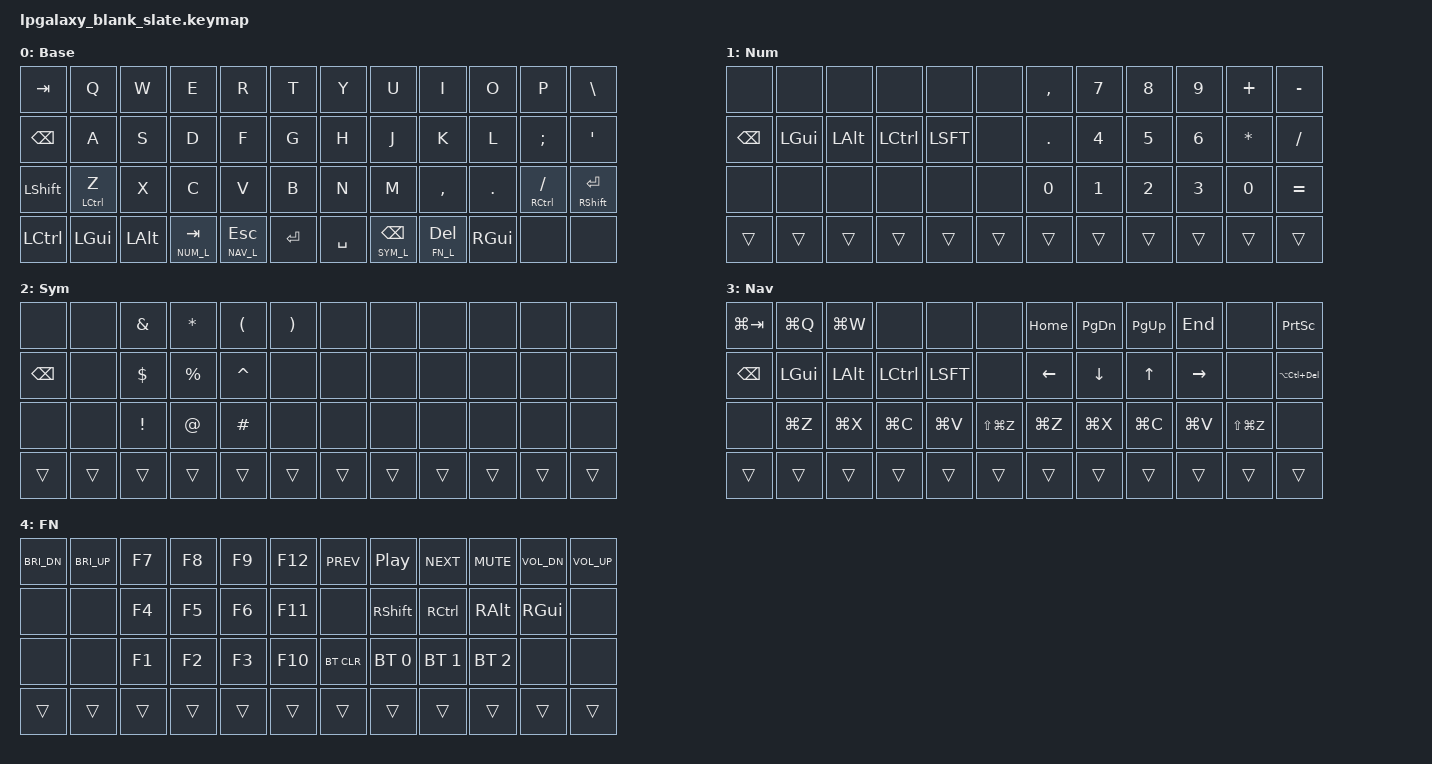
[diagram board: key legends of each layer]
/*
 * Copyright (c) 2022 Pete Johanson
 *
 * SPDX-License-Identifier: MIT
 */

#include <behaviors.dtsi>
#include <dt-bindings/zmk/keys.h>
#include <dt-bindings/zmk/bt.h>
#include <dt-bindings/zmk/outputs.h>

#define QWE_L 0
#define NUM_L 1
#define SYM_L 2
#define NAV_L 3
#define FN_L  4

#define A_C_D LA(LC(DEL))
#define U_RDO LS(LG(Z))

#define BT(n) BT_SEL n

#include "macros.dtsi"
#include "combos.dtsi"

// Using layer taps on thumbs, having quick tap as well helps w/ repeating space/backspace
&lt { quick_tap_ms = <200>; };

&mt {
    tapping-term-ms = <175>;
};

&caps_word {
    continue-list = <UNDERSCORE MINUS BSPC DEL N1 N2 N3 N4 N5 N6 N7 N8 N9 N0>;
};

/ {
    chosen {
        zmk,physical-layout = &layout_ortho_4x12_all1u;
    };

    behaviors {
        hm: homerow_mods {
            compatible = "zmk,behavior-hold-tap";
            label = "HOMEROW_MODS";
            #binding-cells = <2>;
            tapping-term-ms = <175>;
            quick-tap-ms = <100>;
            global-quick-tap;
            flavor = "tap-preferred";
            bindings = <&kp>, <&kp>;
        };
        bspc_del: backspace_delete {
            compatible = "zmk,behavior-mod-morph";
            label = "BACKSPACE_DELETE";
            #binding-cells = <0>;
            bindings = <&kp BACKSPACE>, <&kp DELETE>;
            mods = <(MOD_LSFT|MOD_RSFT)>;
            keep-mods = <(MOD_RSFT)>;
        };
    };

    keymap {
        compatible = "zmk,keymap";

        base_layer {
            label = "Base";
            bindings = <
&kp TAB    &kp Q        &kp W     &kp E          &kp R          &kp T    &kp Y      &kp U           &kp I         &kp O     &kp P           &kp BSLH
&kp BSPC   &kp A        &kp S     &kp D          &kp F          &kp G    &kp H      &kp J           &kp K         &kp L     &kp SEMI        &kp SQT
&kp LSHFT  &hm LCTRL Z  &kp X     &kp C          &kp V          &kp B    &kp N      &kp M           &kp COMMA     &kp DOT   &hm RCTRL FSLH  &mt RSHFT RET
&kp LCTRL  &kp LGUI     &kp LALT  &lt NUM_L TAB  &lt NAV_L ESC  &kp RET  &kp SPACE  &lt SYM_L BSPC  &lt FN_L DEL  &kp RGUI  &none           &none
            >;
        };

        num_layer {
            label = "Num";
            bindings = <
&none     &none     &none     &none     &none     &none   &kp COMMA  &kp N7  &kp N8  &kp N9  &kp PLUS   &kp MINUS
&kp BSPC  &kp LGUI  &kp LALT  &kp LCTL  &kp LSFT  &none   &kp DOT    &kp N4  &kp N5  &kp N6  &kp ASTRK  &kp FSLH
&none     &none     &none     &none     &none     &none   &kp N0     &kp N1  &kp N2  &kp N3  &kp N0     &kp EQUAL
&trans    &trans    &trans    &trans    &trans    &trans  &trans     &trans  &trans  &trans  &trans     &trans
            >;
        };

        sym_layer {
            label = "Sym";
            bindings = <
&none     &none   &kp AMPS  &kp ASTRK  &kp LPAR   &kp RPAR  &none   &none   &none   &none   &none   &none
&kp BSPC  &none   &kp DLLR  &kp PRCNT  &kp CARET  &none     &none   &none   &none   &none   &none   &none
&none     &none   &kp EXCL  &kp AT     &kp HASH   &none     &none   &none   &none   &none   &none   &none
&trans    &trans  &trans    &trans     &trans     &trans    &trans  &trans  &trans  &trans  &trans  &trans
            >;
        };

        nav_layer {
            label = "Nav";
            bindings = <
&kp LG(TAB)  &kp LG(Q)  &kp LG(W)  &none      &none      &none      &kp HOME   &kp PG_DN  &kp PG_UP  &kp END    &none      &kp PSCRN
&kp BSPC     &kp LGUI   &kp LALT   &kp LCTL   &kp LSFT   &none      &kp LEFT   &kp DOWN   &kp UP     &kp RIGHT  &none      &kp A_C_D
&none        &kp LG(Z)  &kp LG(X)  &kp LG(C)  &kp LG(V)  &kp U_RDO  &kp LG(Z)  &kp LG(X)  &kp LG(C)  &kp LG(V)  &kp U_RDO  &none
&trans       &trans     &trans     &trans     &trans     &trans     &trans     &trans     &trans     &trans     &trans     &trans
            >;
        };

        fn_layer {
            label = "FN";
            bindings = <
&kp C_BRI_DN  &kp C_BRI_UP  &kp F7  &kp F8  &kp F9  &kp F12  &kp C_PREV    &kp C_PP      &kp C_NEXT    &kp K_MUTE    &kp C_VOL_DN  &kp C_VOL_UP
&none         &none         &kp F4  &kp F5  &kp F6  &kp F11  &none         &kp RSHFT     &kp RCTL      &kp RALT      &kp RGUI      &none
&none         &none         &kp F1  &kp F2  &kp F3  &kp F10  &bt BT_CLR    &bt BT_SEL 0  &bt BT_SEL 1  &bt BT_SEL 2  &none         &none
&trans        &trans        &trans  &trans  &trans  &trans   &trans        &trans        &trans        &trans        &trans        &trans
            >;
        };
    };
};
